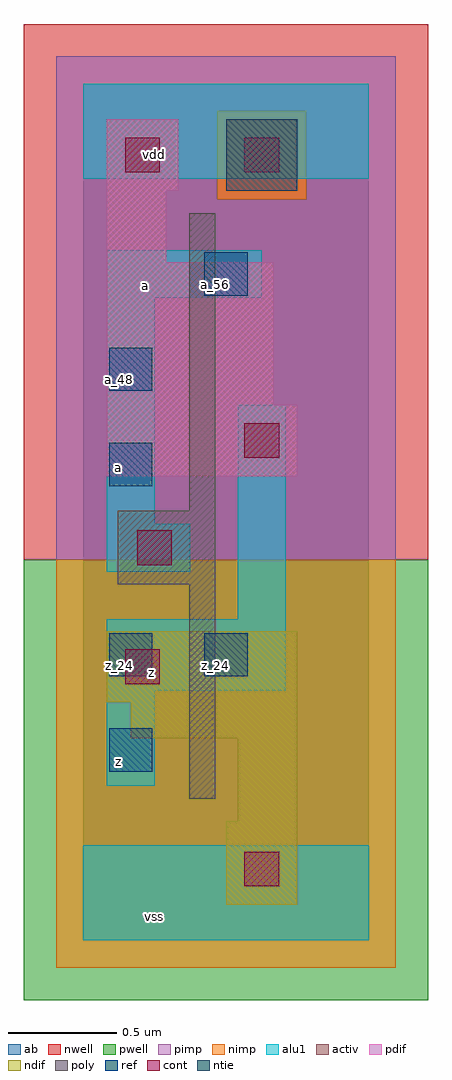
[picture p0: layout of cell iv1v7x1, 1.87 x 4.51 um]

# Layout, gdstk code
import gdstk
lib = gdstk.Library(unit=1e-6, precision=2.5e-09)
def R(c, l, rs):  # rectangles x0, y0, x1, y1
    for r in rs: c.add(gdstk.rectangle(r[:2], r[2:], *l))
ndif = (3, 0)
pdif = (4, 0)
ntie = (5, 0)
ref = (24, 0)
cont = (25, 0)
pwell = (41, 0)
nwell = (42, 0)
activ = (43, 0)
pimp = (44, 0)
nimp = (45, 0)
poly = (46, 0)
alu1 = (49, 0)
ab = (63, 0)

iv1v7x1 = lib.new_cell('iv1v7x1')
R(iv1v7x1, ndif, [(0.66,0.165,0.99,0.55), (0.715,0.55,0.99,0.935), (0.22,0.935,0.99,1.1), (0.11,1.1,0.99,1.43)])
R(iv1v7x1, pdif, [(0.11,2.145,0.99,2.475), (0.11,2.475,0.88,3.135), (0.11,3.135,0.385,3.465), (0.11,3.465,0.44,3.795)])
R(iv1v7x1, ntie, [(0.66,3.465,0.99,3.795)])
R(iv1v7x1, ref, [(0.12,0.78,0.32,0.98), (0.12,1.22,0.32,1.42), (0.56,1.22,0.76,1.42), (0.12,2.1,0.32,2.3), (0.12,2.54,0.32,2.74), (0.56,2.98,0.76,3.18)])
R(iv1v7x1, cont, [(0.745,0.25,0.905,0.41), (0.195,1.185,0.355,1.345), (0.25,1.735,0.41,1.895), (0.745,2.23,0.905,2.39), (0.195,3.55,0.355,3.71), (0.745,3.55,0.905,3.71)])
R(iv1v7x1, pwell, [(-0.275,-0.275,1.595,1.76)])
R(iv1v7x1, nwell, [(-0.275,1.76,1.595,4.235)])
R(iv1v7x1, activ, [(0.66,0.165,0.99,0.55), (0.715,0.55,0.99,0.935), (0.22,0.935,0.99,1.1), (0.11,1.1,0.99,1.43), (0.11,2.145,0.99,2.475), (0.11,2.475,0.88,3.135), (0.11,3.135,0.385,3.465), (0.11,3.465,0.44,3.795), (0.66,3.465,0.99,3.795)])
R(iv1v7x1, pimp, [(-0.125,1.76,1.445,3.425), (-0.125,3.425,0.62,3.835), (1.03,3.425,1.445,3.835), (-0.125,3.835,1.445,4.085)])
R(iv1v7x1, nimp, [(-0.125,-0.125,1.445,1.76), (0.62,3.425,1.03,3.835)])
R(iv1v7x1, poly, [(0.49,0.655,0.61,1.645), (0.16,1.645,0.61,1.985), (0.49,1.985,0.61,3.36)])
R(iv1v7x1, alu1, [(0,0,1.32,0.44), (0.11,0.715,0.33,1.155), (0.11,1.155,0.935,1.485), (0.715,1.485,0.935,2.475), (0.11,1.705,0.495,1.925), (0.11,1.925,0.33,2.97), (0.11,2.97,0.825,3.19), (0,3.52,1.32,3.96)])
R(iv1v7x1, ab, [(0,0,1.32,3.96)])
iv1v7x1.add(gdstk.Label('vss', (0.33,0.11), layer=49, texttype=0))
iv1v7x1.add(gdstk.Label('z', (0.165,0.825), layer=49, texttype=0))
iv1v7x1.add(gdstk.Label('z', (0.315,1.2375), layer=49, texttype=0))
iv1v7x1.add(gdstk.Label('a', (0.165,2.185), layer=49, texttype=0))
iv1v7x1.add(gdstk.Label('a', (0.2875,3.025), layer=49, texttype=0))
iv1v7x1.add(gdstk.Label('vdd', (0.33,3.63), layer=49, texttype=0))
iv1v7x1.add(gdstk.Label('z_24', (0.61,1.27), layer=24, texttype=0))
iv1v7x1.add(gdstk.Label('a_56', (0.61,3.03), layer=24, texttype=0))
iv1v7x1.add(gdstk.Label('z_16', (0.17,0.83), layer=24, texttype=0))
iv1v7x1.add(gdstk.Label('z_24', (0.17,1.27), layer=24, texttype=0))
iv1v7x1.add(gdstk.Label('a_40', (0.17,2.15), layer=24, texttype=0))
iv1v7x1.add(gdstk.Label('a_48', (0.17,2.59), layer=24, texttype=0))

lib.write_gds('iv1v7x1.gds')
